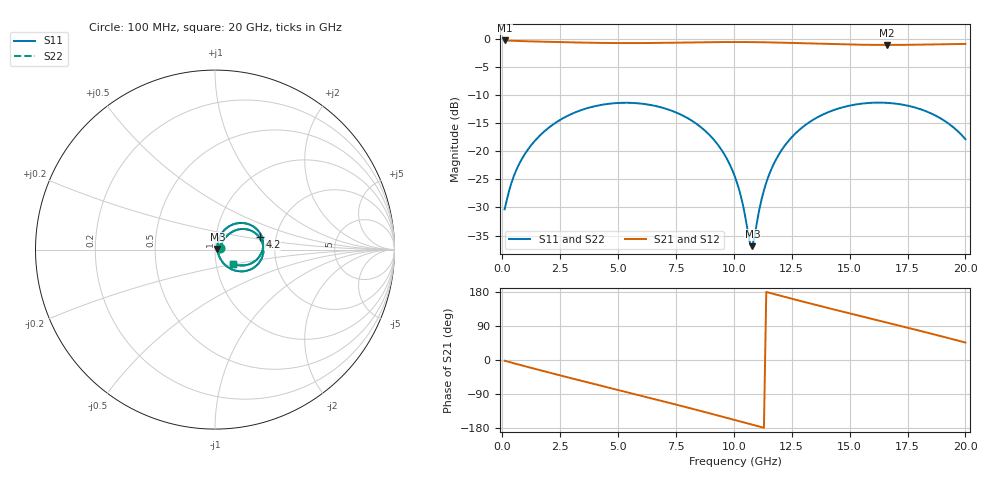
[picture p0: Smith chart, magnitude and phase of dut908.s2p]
! Touchstone file exported from HFSS 2026.1.0
!  File:  C:/ffzhzh/LocalFiles/Ansys_Project_Files/temp_train_TSV_RDL_908_1783277647_39728.aedt
!  Generated:  03:03:59 AM Jul  6, 2026
!  Design:  TSV_RDL
!  Project:  temp_train_TSV_RDL_908_1783277647_39728
! Variables:
!  h_bsmrdl = 2.89um
!  h_ox = 20um
!  h_rdl = 5um
!  h_sub = 52.37um
!  h_tmrdl = 2.27um
!  h_tsv = 52.37um
!  h_via = 3um
!  l_bsmrdl = 434.09um
!  l_sub = 5595.73um
!  l_tmrdl = 930.93um
!  m_sub = 200um
!  pitch = 37.73um
!  r_tsv = 8.99um
!  s_tmrdl = 10um
!  w_bsmrdl = 29.74um
!  w_sub = 500um
!  w_tmrdl = 26.84um
!  x_tsv_center1 = 944.35um
!  x_tsv_center2 = 1408.18um
!  x_tsv_center3 = 2365.95um
!  x_tsv_center4 = 2829.78um
!  x_tsv_center5 = 3787.55um
!  x_tsv_center6 = 4251.38um
# GHz S MA R 50.000000
! Terminal data exported
! Port[1] = TM_RDL1_1_T1
! Port[2] = TM_RDL5_1_T1
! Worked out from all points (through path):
!   200 points, 100 MHz to 20 GHz, reference 50 ohm
!   highest |S21| = -0.25 dB at 100 MHz (marker M1); lowest = -1.0 dB at 16.6 GHz (marker M2)
!   group delay of S21, straight-line fit = 43.5 ps
!   lowest |S11| = -36.9 dB at 10.8 GHz (marker M3), VSWR 1.03, Z = 51.4 + j0.39 ohm
!   |S11| at or under -10 dB: start of sweep to end of sweep
!   |S22| runs from -37.0 to -11.3 dB; largest |S21 - S12| = 3.6e-14
!   S11 on the Smith chart (normalised r, x): 100 MHz: 1.06, +0.02; 4.2 GHz: 1.64, +0.24; 20 GHz: 1.21, -0.19
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0.1  0.03046 20.5  0.9718 -1.8  0.9718 -1.8  0.03046 20.5
! Gamma 0 0 0 0
! Port Impedance 50 0 50 0
0.5  0.06033 45.9  0.9637 -8.7  0.9637 -8.7  0.06033 45.9
1.2  0.1101 48.4  0.9538 -20.0  0.9538 -20.0  0.1101 48.4
2.2  0.1738 40.4  0.9427 -35.9  0.9427 -35.9  0.1738 40.4
3.5  0.2364 24.7  0.9297 -56.2  0.9297 -56.2  0.2364 24.6
4.2  0.2574 15.4  0.9245 -67.0  0.9245 -67.0  0.2574 15.3
6.8  0.2483 -20.8  0.9245 -106.7  0.9245 -106.7  0.2483 -20.8
8.9  0.1431 -49.9  0.9382 -139.8  0.9382 -139.8  0.1432 -50.0
9.6  0.09326 -57.8  0.9409 -151.1  0.9409 -151.1  0.09327 -57.9
10.1  0.0553 -59.6  0.9413 -159.3  0.9413 -159.3  0.05529 -59.8
10.4  0.03274 -53.6  0.9408 -164.2  0.9408 -164.2  0.0327 -53.9
10.7  0.01506 -14.8  0.9398 -169.1  0.9398 -169.1  0.01491 -15.1
10.8  0.0143 15.4  0.9393 -170.7  0.9393 -170.7  0.01413 15.4
11.2  0.03754 66.4  0.9369 -177.3  0.9369 -177.3  0.03745 66.6
11.7  0.07544 69.8  0.9326 174.6  0.9326 174.6  0.07538 70.0
12.4  0.1266 63.4  0.9248 163.4  0.9248 163.4  0.1266 63.5
13.4  0.1896 50.4  0.9117 147.5  0.9117 147.5  0.1896 50.4
15  0.2553 28.1  0.8935 123.0  0.8935 123.0  0.2553 28.2
16.6  0.2703 6.0  0.8867 98.9  0.8867 98.9  0.2703 6.0
16.7  0.2694 4.6  0.8867 97.4  0.8867 97.4  0.2694 4.6
18.4  0.2231 -18.7  0.8941 71.4  0.8941 71.4  0.2231 -18.7
20  0.1283 -38.2  0.9051 46.1  0.9051 46.1  0.1284 -38.1
